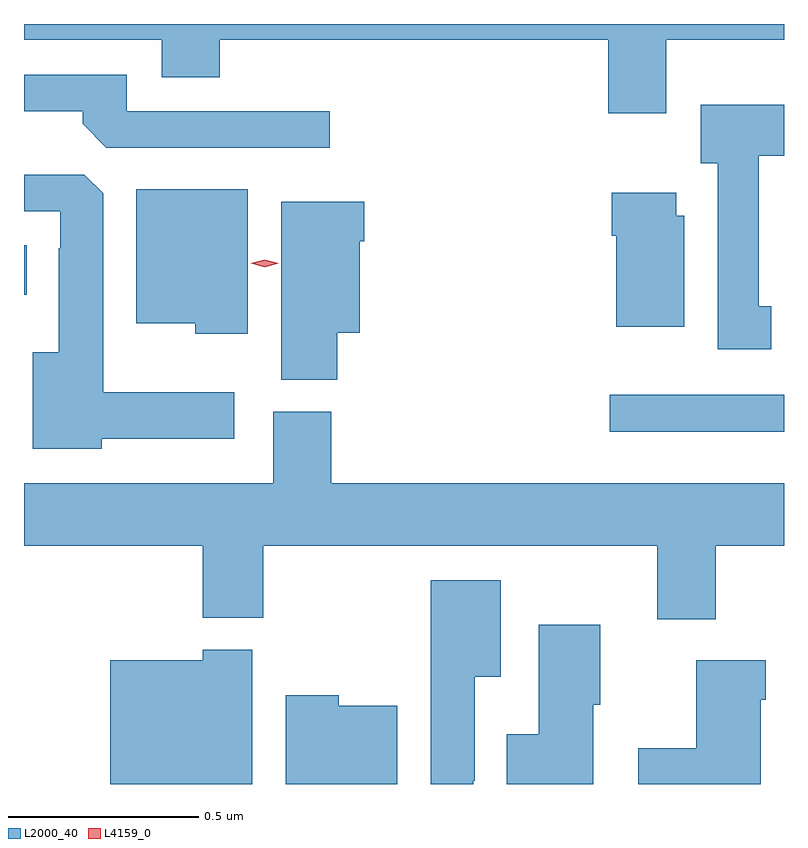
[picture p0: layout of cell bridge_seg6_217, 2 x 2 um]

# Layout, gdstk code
import gdstk
lib = gdstk.Library(unit=1e-6, precision=1e-09)
def R(c, l, rs):  # rectangles x0, y0, x1, y1
    for r in rs: c.add(gdstk.rectangle(r[:2], r[2:], *l))
def P(c, l, *ps):  # polygons
    for p in ps: c.add(gdstk.Polygon(p, *l))
L2000_40 = (2000, 40)
L4159_0 = (4159, 0)

bridge_seg6_217 = lib.new_cell('bridge_seg6_217')
R(bridge_seg6_217, L2000_40, [(155.115,978.272,155.573,978.369), (153.573,978.632,153.58,978.763)])
P(bridge_seg6_217, L2000_40, [(155.263,979.304),(155.573,979.304),(155.573,979.345),(153.573,979.345),(153.573,979.304),(153.935,979.304),(153.935,979.205),(154.088,979.205),(154.088,979.304),(155.111,979.304),(155.111,979.11),(155.263,979.11)],
  [(154.378,979.116),(153.843,979.116),(153.843,979.212),(153.573,979.212),(153.573,979.116),(153.728,979.116),(153.728,979.082),(153.789,979.02),(154.378,979.02)],
  [(155.539,978.602),(155.506,978.602),(155.506,978.998),(155.573,978.998),(155.573,979.132),(155.354,979.132),(155.354,978.978),(155.399,978.978),(155.399,978.489),(155.539,978.489)],
  [(153.777,978.254),(154.126,978.254),(154.126,978.376),(153.781,978.376),(153.781,978.899),(153.732,978.948),(153.573,978.948),(153.573,978.852),(153.669,978.852),(153.669,978.755),(153.665,978.755),(153.665,978.481),(153.596,978.481),(153.596,978.227),(153.777,978.227)],
  [(154.162,978.91),(153.869,978.91),(153.869,978.557),(154.023,978.557),(154.023,978.53),(154.162,978.53)],
  [(155.311,978.84),(155.29,978.84),(155.29,978.901),(155.12,978.901),(155.12,978.788),(155.132,978.788),(155.132,978.548),(155.311,978.548)],
  [(154.397,978.533),(154.456,978.533),(154.456,978.773),(154.469,978.773),(154.469,978.877),(154.25,978.877),(154.25,978.409),(154.397,978.409)],
  [(155.393,977.972),(155.573,977.972),(155.573,978.136),(154.382,978.136),(154.382,978.324),(154.229,978.324),(154.229,978.136),(153.573,978.136),(153.573,977.972),(154.043,977.972),(154.043,977.783),(154.203,977.783),(154.203,977.972),(155.24,977.972),(155.24,977.778),(155.393,977.778)],
  [(154.755,977.353),(154.759,977.353),(154.759,977.627),(154.828,977.627),(154.828,977.881),(154.643,977.881),(154.643,977.345),(154.755,977.345)],
  [(155.071,977.553),(155.089,977.553),(155.089,977.764),(154.928,977.764),(154.928,977.476),(154.844,977.476),(154.844,977.345),(155.071,977.345)],
  [(154.174,977.698),(154.044,977.698),(154.044,977.671),(153.8,977.671),(153.8,977.345),(154.174,977.345)],
  [(155.512,977.567),(155.525,977.567),(155.525,977.671),(155.342,977.671),(155.342,977.439),(155.19,977.439),(155.19,977.345),(155.512,977.345)],
  [(154.555,977.551),(154.401,977.551),(154.401,977.578),(154.262,977.578),(154.262,977.345),(154.555,977.345)])
P(bridge_seg6_217, L4159_0, [(154.206,978.705),(154.17,978.715),(154.169,978.715),(154.17,978.715),(154.206,978.725),(154.243,978.715),(154.243,978.715),(154.243,978.715)])

lib.write_gds('bridge_seg6_217.gds')
